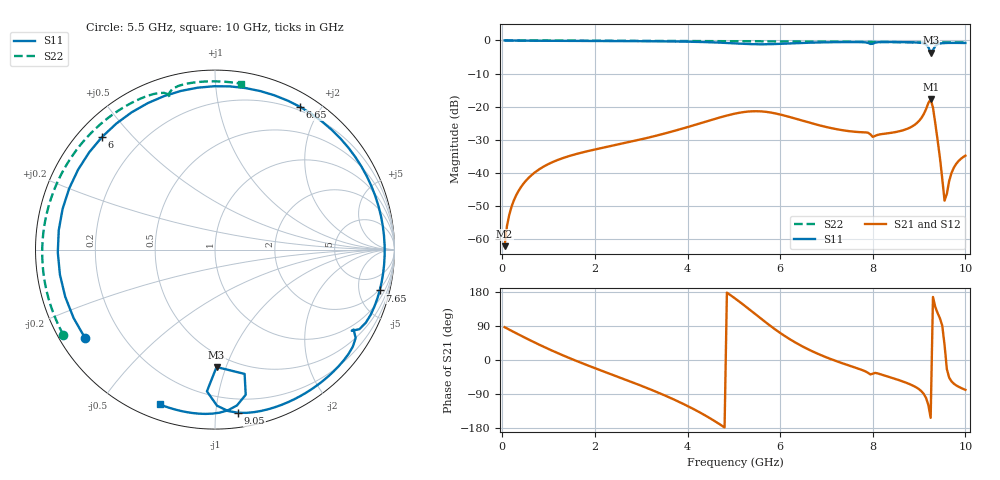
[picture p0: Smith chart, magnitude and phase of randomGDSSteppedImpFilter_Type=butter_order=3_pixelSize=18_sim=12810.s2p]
! freq	dB(S11)	phase(S11)	dB(S12)	phase(S12)
!  dB(S21)	phase(S21)	dB(S22)	phase(S22)
!S-par simulation data
#  GHz  S  DB  R 50
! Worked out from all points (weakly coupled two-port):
!   200 points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, 50 MHz to 10 GHz, reference 50 ohm
!   highest |S21| = -17.81 dB at 9.25 GHz (marker M1); lowest = -62.2 dB at 50 MHz (marker M2)
!   lowest |S11| = -3.7 dB at 9.25 GHz (marker M3), VSWR 4.79, Z = 20.3 - j46.4 ohm
!   |S11| at or under -10 dB: nowhere
!   |S22| runs from -1.1 to 0.0 dB; largest |S21 - S12| = 0
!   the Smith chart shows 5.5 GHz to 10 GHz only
!   S11 on the Smith chart (normalised r, x): 5.5 GHz: 0.07, -0.31; 6 GHz: 0.07, +0.41; 6.65 GHz: 0.16, +1.75; 7.65 GHz: 1.81, -7.78; 9.05 GHz: 0.10, -1.14; 10 GHz: 0.07, -0.70
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0.05  -0.00 -4.9  -62.20 86.6  -62.20 86.6  -0.00 -1.6
0.3  -0.04 -29.1  -46.81 70.6  -46.81 70.6  -0.01 -9.2
0.85  -0.10 -79.3  -38.49 37.4  -38.49 37.4  -0.03 -26.0
1.75  -0.15 -149.5  -33.78 -9.7  -33.78 -9.7  -0.07 -52.6
2.55  -0.19 155.7  -31.31 -46.9  -31.31 -46.9  -0.10 -75.2
3.4  -0.26 96.1  -28.53 -87.8  -28.53 -87.8  -0.13 -98.0
3.9  -0.34 56.0  -26.61 -115.4  -26.61 -115.4  -0.16 -110.9
4.4  -0.50 8.5  -24.52 -147.6  -24.52 -147.6  -0.19 -123.6
4.75  -0.69 -32.1  -23.08 -174.0  -23.08 -174.0  -0.22 -132.3
5.05  -0.90 -73.5  -22.05 160.3  -22.05 160.3  -0.24 -139.6
5.5  -1.15 -145.8  -21.40 117.5  -21.40 117.5  -0.27 -150.6
6  -1.02 135.1  -22.38 71.5  -22.38 71.5  -0.29 -162.9
6.3  -0.85 96.1  -23.52 48.2  -23.52 48.2  -0.31 -170.5
6.65  -0.67 59.3  -24.93 25.5  -24.93 25.5  -0.33 -179.4
6.7  -0.65 54.6  -25.13 22.6  -25.13 22.6  -0.33 179.4
7.65  -0.49 -13.9  -27.66 -21.3  -27.66 -21.3  -0.41 154.0
8.35  -0.47 -48.3  -28.02 -44.6  -28.02 -44.6  -0.48 133.9
9.05  -0.75 -82.0  -23.44 -82.4  -23.44 -82.4  -0.61 111.6
9.25  -3.68 -89.3  -17.81 -152.7  -17.81 -152.7  -1.08 106.5
9.55  -0.78 -91.0  -48.43 39.9  -48.43 39.9  -0.55 97.1
9.75  -0.73 -99.8  -38.48 -62.4  -38.48 -62.4  -0.56 90.0
10  -0.77 -109.6  -34.83 -78.7  -34.83 -78.7  -0.58 81.2
